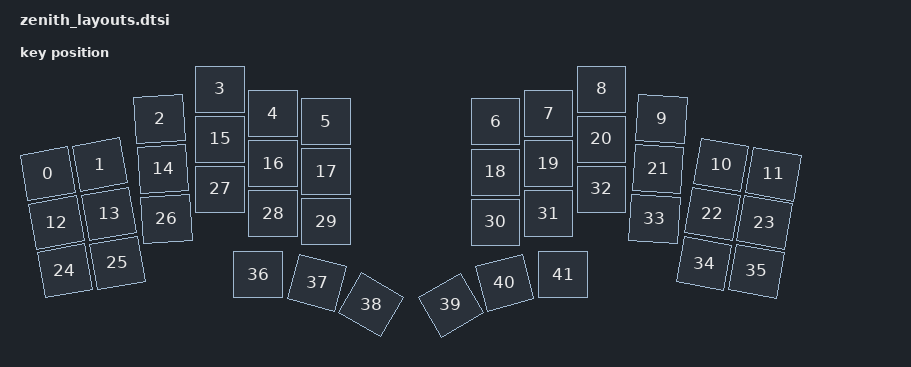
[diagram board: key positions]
#include <physical_layouts.dtsi>

/ {
    ergomech_zenith_layout: ergomech_zenith_layout {
        compatible = "zmk,physical-layout";
        display-name = "Default";

        kscan = <&kscan0>;
        transform = <&matrix_transform0>;

        keys  //                     w   h    x    y     rot    rx    ry
            = <&key_physical_attrs 105 100    0  151 (-1000)   159   201>
            , <&key_physical_attrs 105 100  106  151 (-1000)   159   201>
            , <&key_physical_attrs 105 100  225   60  (-400)   278   110>
            , <&key_physical_attrs 105 100  346    0       0     0     0>
            , <&key_physical_attrs 105 100  452   49       0     0     0>
            , <&key_physical_attrs 105 100  558   65       0     0     0>
            , <&key_physical_attrs 105 100  897   65       0     0     0>
            , <&key_physical_attrs 105 100 1003   49       0     0     0>
            , <&key_physical_attrs 105 100 1109    0       0     0     0>
            , <&key_physical_attrs 105 100 1229   60     400  1282   110>
            , <&key_physical_attrs 105 100 1348  152    1000  1401   202>
            , <&key_physical_attrs 105 100 1454  152    1000  1401   202>
            , <&key_physical_attrs 105 100    0  250 (-1000)   159   201>
            , <&key_physical_attrs 105 100  124  250 (-1000)   176   300>
            , <&key_physical_attrs 105 100  232  160  (-400)   285   210>
            , <&key_physical_attrs 105 100  346  100       0     0     0>
            , <&key_physical_attrs 105 100  452  149       0     0     0>
            , <&key_physical_attrs 105 100  558  165       0     0     0>
            , <&key_physical_attrs 105 100  897  166       0     0     0>
            , <&key_physical_attrs 105 100 1003  149       0     0     0>
            , <&key_physical_attrs 105 100 1109  100       0     0     0>
            , <&key_physical_attrs 105 100 1222  160     400  1275   210>
            , <&key_physical_attrs 105 100 1331  250    1000  1384   300>
            , <&key_physical_attrs 105 100 1454  250    1000  1401   202>
            , <&key_physical_attrs 105 100    0  348 (-1000)   159   201>
            , <&key_physical_attrs 105 100  141  348 (-1000)   194   398>
            , <&key_physical_attrs 105 100  239  260  (-400)   292   310>
            , <&key_physical_attrs 105 100  346  200       0     0     0>
            , <&key_physical_attrs 105 100  452  249       0     0     0>
            , <&key_physical_attrs 105 100  558  265       0     0     0>
            , <&key_physical_attrs 105 100  897  266       0     0     0>
            , <&key_physical_attrs 105 100 1003  249       0     0     0>
            , <&key_physical_attrs 105 100 1109  200       0     0     0>
            , <&key_physical_attrs 105 100 1215  260     400  1268   310>
            , <&key_physical_attrs 105 100 1314  349    1000  1367   399>
            , <&key_physical_attrs 105 100 1454  349    1000  1401   202>
            , <&key_physical_attrs 105 100  422  371       0     0     0>
            , <&key_physical_attrs 105 100  540  387    1500   592   437>
            , <&key_physical_attrs 105 100  648  432    3000   701   482>
            , <&key_physical_attrs 105 100  807  432 (-3000)   860   482>
            , <&key_physical_attrs 105 100  915  387 (-1500)   968   437>
            , <&key_physical_attrs 105 100 1032  371       0     0     0>
            ;
    };
};
